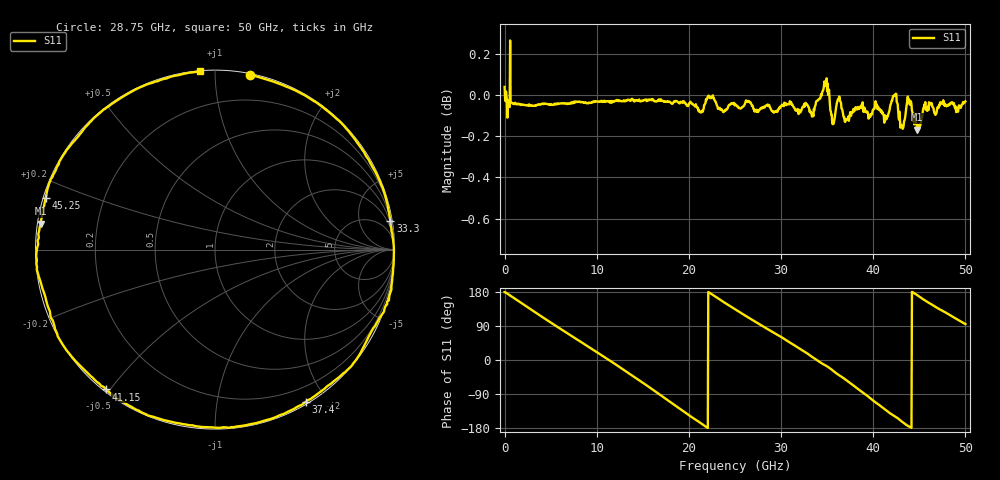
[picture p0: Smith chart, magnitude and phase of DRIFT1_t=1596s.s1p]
!Created with skrf (http://scikit-rf.org).
# Hz S RI R 50.0
!freq ReS11 ImS11
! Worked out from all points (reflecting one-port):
!   1001 points, 300 kHz to 50 GHz, reference 50 ohm
!   lowest |S11| = -0.2 dB at 44.75 GHz (marker M1), VSWR 103.16, Z = 0.487 + j3.7 ohm
!   phase of S11 starts at 179 deg and turns -804 deg over the sweep
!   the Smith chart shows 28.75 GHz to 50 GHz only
!   S11 on the Smith chart (normalised r, x): 28.75 GHz: 0.01, +1.22; 33.3 GHz: 1, +12; 37.4 GHz: 0.03, -1.76; 41.15 GHz: 0.01, -0.49; 45.25 GHz: 0.01, +0.15; 50 GHz: 0.00, +0.92
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300000  -1.004 0.0159
1.70029e9  -0.8802 0.464
3.550279e9  -0.5288 0.8423
6.250262e9  0.1847 0.9782
7.900253e9  0.5918 0.8015
9.750242e9  0.9042 0.4188
1.250022e10  0.9419 -0.3265
1.400022e10  0.7247 -0.6849
1.58502e10  0.2699 -0.9602
1.72502e10  -0.1441 -0.9859
1.875019e10  -0.5575 -0.8258
2.030018e10  -0.8682 -0.4866
2.195017e10  -0.9969 -0.037
2.500015e10  -0.6895 0.7173
2.680014e10  -0.2898 0.9515
2.875013e10  0.1965 0.9741
3.125011e10  0.7436 0.6605
3.33001e10  0.9768 0.1586
3.510009e10  0.9487 -0.3164
3.740008e10  0.5071 -0.8469
3.750008e10  0.4816 -0.8655
3.925006e10  -0.0438 -0.9894
4.115005e10  -0.608 -0.779
4.375004e10  -0.9931 -0.1099
4.475003e10  -0.9701 0.1443
4.525003e10  -0.944 0.2883
4.745002e10  -0.6486 0.7547
5e10  -0.0825 0.9931
